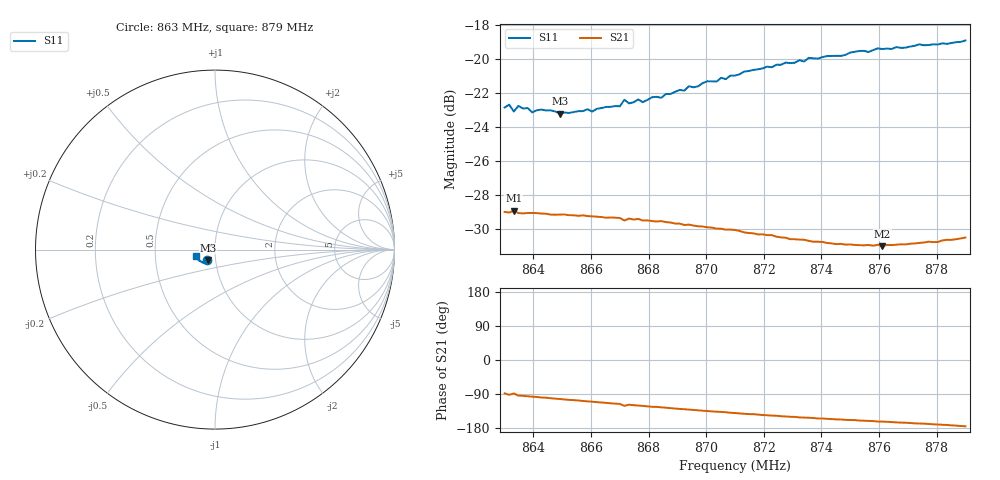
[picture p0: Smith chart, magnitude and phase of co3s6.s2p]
# HZ S RI R 50
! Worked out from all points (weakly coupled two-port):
!   101 points, 863 MHz to 879 MHz, reference 50 ohm
!   highest |S21| = -28.91 dB at 863.32 MHz (marker M1); lowest = -31.0 dB at 876.12 MHz (marker M2)
!   lowest |S11| = -23.2 dB at 864.92 MHz (marker M3), VSWR 1.15, Z = 45.9 - j5.26 ohm
!   |S11| at or under -10 dB: start of sweep to end of sweep
!   S12 and S22 are empty: the file has one direction only
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8.63e8  -0.0429 -0.058  0.00127 -0.0356  0 0  0 0
8.6316e8  -0.045 -0.0582  -0.00115 -0.0354  0 0  0 0
8.6332e8  -0.0383 -0.0588  0.00101 -0.0358  0 0  0 0
8.6348e8  -0.0449 -0.0575  -0.00244 -0.0352  0 0  0 0
8.6396e8  -0.0406 -0.0568  -0.00422 -0.0351  0 0  0 0
8.6428e8  -0.0409 -0.0582  -0.00549 -0.0348  0 0  0 0
8.6492e8  -0.0391 -0.057  -0.00784 -0.034  0 0  0 0
8.6572e8  -0.0421 -0.0565  -0.0108 -0.033  0 0  0 0
8.67e8  -0.0378 -0.0622  -0.0149 -0.0307  0 0  0 0
8.6716e8  -0.0412 -0.0639  -0.0173 -0.0288  0 0  0 0
8.6732e8  -0.0383 -0.0636  -0.016 -0.03  0 0  0 0
8.6764e8  -0.0393 -0.0653  -0.0171 -0.0293  0 0  0 0
8.678e8  -0.0386 -0.0641  -0.0173 -0.0287  0 0  0 0
8.6844e8  -0.0394 -0.0662  -0.0191 -0.0274  0 0  0 0
8.686e8  -0.0405 -0.0679  -0.0195 -0.0269  0 0  0 0
8.6924e8  -0.0426 -0.0688  -0.0209 -0.025  0 0  0 0
8.694e8  -0.0446 -0.0704  -0.0214 -0.0247  0 0  0 0
8.71e8  -0.0525 -0.0726  -0.0241 -0.0203  0 0  0 0
8.7372e8  -0.0716 -0.0708  -0.0259 -0.0132  0 0  0 0
8.7612e8  -0.0898 -0.0585  -0.0269 -0.00846  0 0  0 0
8.7644e8  -0.0912 -0.0564  -0.0273 -0.00791  0 0  0 0
8.79e8  -0.1081 -0.0348  -0.0298 -0.00265  0 0  0 0
